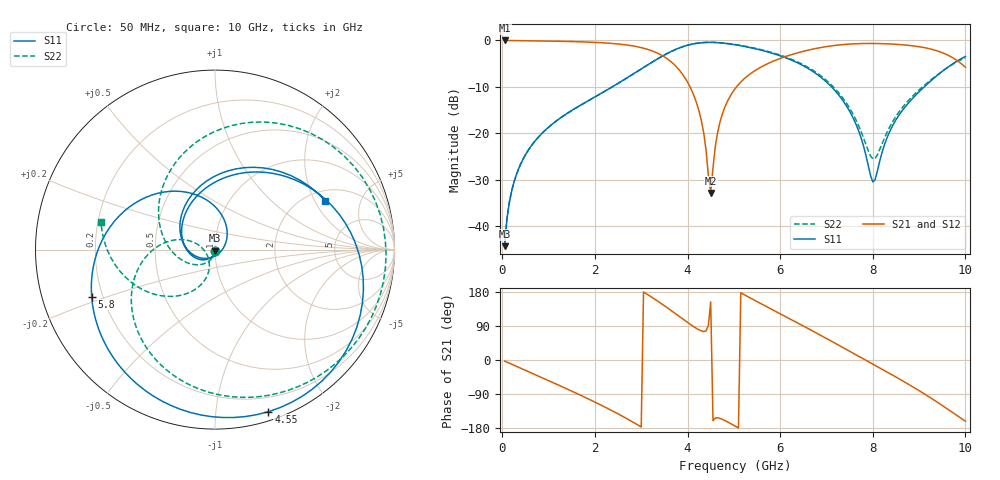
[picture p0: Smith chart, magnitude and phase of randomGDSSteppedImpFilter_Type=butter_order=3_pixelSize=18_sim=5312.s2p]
! freq	dB(S11)	phase(S11)	dB(S12)	phase(S12)
!  dB(S21)	phase(S21)	dB(S22)	phase(S22)
!S-par simulation data
#  GHz  S  DB  R 50
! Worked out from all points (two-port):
!   200 points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, 50 MHz to 10 GHz, reference 50 ohm
!   highest |S21| = 0.00 dB at 50 MHz (marker M1); lowest = -32.8 dB at 4.5 GHz (marker M2)
!   |S21| within 3 dB of the highest: start of sweep to 3.406 GHz; 6.261 GHz to 9.587 GHz (3.326 GHz wide, 42 % of centre)
!   lowest |S11| = -44.3 dB at 50 MHz (marker M3), VSWR 1.01, Z = 50 - j0.612 ohm
!   |S11| at or under -10 dB: start of sweep to 2.371 GHz; 7.11 GHz to 9.109 GHz (1.999 GHz wide, 24.6 % of centre)
!   |S22| runs from -44.2 to -0.4 dB; largest |S21 - S12| = 0
!   S11 on the Smith chart (normalised r, x): 50 MHz: 1.00, -0.01; 4.55 GHz: 0.07, -1.38; 5.8 GHz: 0.16, -0.18; 10 GHz: 2.45, +2.44
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0.05  -44.26 -91.3  -0.00 -2.8  -0.00 -2.8  -44.25 -90.2
0.2  -32.49 -102.4  -0.02 -10.9  -0.02 -10.9  -32.47 -98.3
0.5  -24.61 -122.7  -0.05 -27.1  -0.05 -27.1  -24.60 -112.2
1.15  -17.45 -166.1  -0.16 -62.6  -0.16 -62.6  -17.45 -141.0
1.75  -13.58 152.7  -0.32 -96.4  -0.32 -96.4  -13.59 -167.8
2.7  -8.01 84.1  -0.99 -155.5  -0.99 -155.5  -8.04 142.2
3.4  -3.69 28.7  -2.97 151.7  -2.97 151.7  -3.70 91.1
3.8  -1.70 -6.3  -6.12 116.9  -6.12 116.9  -1.71 55.1
4.15  -0.70 -37.8  -12.19 86.7  -12.19 86.7  -0.68 21.7
4.35  -0.46 -55.2  -19.95 75.2  -19.95 75.2  -0.44 3.0
4.5  -0.43 -67.7  -32.80 153.1  -32.80 153.1  -0.40 -10.5
4.55  -0.44 -71.7  -27.40 -160.3  -27.40 -160.3  -0.40 -14.9
4.7  -0.52 -83.6  -17.58 -154.0  -17.58 -154.0  -0.48 -27.6
5.05  -0.97 -109.2  -10.09 -175.9  -10.09 -175.9  -0.90 -55.1
5.8  -2.67 -159.1  -4.68 134.8  -4.68 134.8  -2.54 -105.9
6.7  -6.63 139.4  -1.88 76.7  -1.88 76.7  -6.37 -159.8
7.5  -15.23 72.7  -0.78 23.1  -0.78 23.1  -14.57 162.7
8  -30.44 -42.4  -0.65 -10.8  -0.65 -10.8  -25.47 -157.3
8.35  -19.94 -154.4  -0.75 -34.6  -0.75 -34.6  -18.92 -106.7
9.15  -9.62 113.3  -1.62 -92.1  -1.62 -92.1  -9.34 -130.5
9.6  -5.91 64.9  -3.06 -128.2  -3.06 -128.2  -5.95 -159.3
10  -3.46 24.0  -5.78 -161.6  -5.78 -161.6  -3.69 166.5
